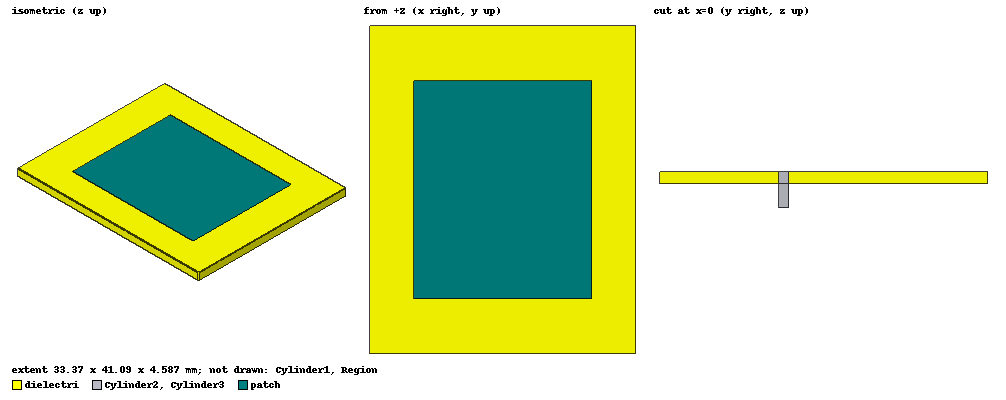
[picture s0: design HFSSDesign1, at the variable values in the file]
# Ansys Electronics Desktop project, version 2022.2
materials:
  vacuum: permittivity=1
  Rogers RT/duroid 5880 (tm): permittivity=2.2 dielectric_loss_tangent=0.0009
  pec: conductivity=1e+30
  air: permittivity=1.0006 permeability=1.0000004

design HFSSDesign1 (HFSS, DrivenTerminal, model units mm)
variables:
  h = 1.5875mm
  b = 27.391607mm
  l = 22.249574mm
  ff = -5mm
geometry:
  dielectri [Rogers RT/duroid 5880 (tm)] = box(corner=(-1.5*l/2, -1.5*b/2, 0mm), size=(l*1.5, b*1.5, h))
  ground = rectangle(corner=(-1.5*l/2, -1.5*b/2, 0mm), x_size=1.5*l, y_size=1.5*b)
  patch = rectangle(corner=(-l/2, -b/2, h), x_size=l, y_size=b)
  coordinate_system RelativeCS1 = origin=(0mm, ff, 0mm) x=(1mm, 0mm, 0mm) y=(0mm, 1mm, 0mm)
  Circle1 = circle(normal=Z, centre=(0mm, 0mm, 0mm), radius=1.2mm) in RelativeCS1
  ground.subtract(Circle1)
  Cylinder1 [vacuum] = cylinder(axis=Z, base_centre=(0mm, 0mm, 0mm), radius=1.2mm, height=-3mm) in RelativeCS1
  Cylinder2 [pec] = cylinder(axis=Z, base_centre=(0mm, 0mm, 0mm), radius=0.6mm, height=-3mm) in RelativeCS1
  Cylinder3 [pec] = cylinder(axis=Z, base_centre=(0mm, 0mm, 0mm), radius=0.6mm, height=h) in RelativeCS1
  Circle2 = circle(normal=Z, centre=(0mm, 0mm, -3mm), radius=1.2mm) in RelativeCS1
  Region [air] = region(absolute_offset: +X=17.857mm, -X=17.857mm, +Y=17.857mm, -Y=17.857mm, +Z=17.857mm, -Z=-3mm) in RelativeCS1
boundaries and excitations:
  PerfE1: Perfect E Objects=[patch, ground]
  Rad1: Radiation Faces=Region.face(6 of 6, 3 of 6, 5 of 6, 4 of 6, 1 of 6)
  Cylinder2_T1: Terminal port=1 Faces=Cylinder2.face(2 of 3) TerminalResistance=50ohm
  1: Lumped Port Faces=Circle2.face Impedance=50ohm
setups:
  Setup1: HfssDriven Frequency=4.2GHz MaxDeltaS=0.02 MaximumPasses=30 MinimumPasses=1 MinimumConvergedPasses=1 PercentRefinement=30 BasisOrder=1 PortAccuracy=2 DrivenSolverType="Direct Solver"
    sweep Sweep: 3GHz to 5.5GHz, 201 points; Type=Fast SaveFields
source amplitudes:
  1:1: 1V 0deg
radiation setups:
  Infinite Sphere1: Infinite Sphere Theta=0deg..180deg step 2deg Phi=-180deg..180deg step 2deg
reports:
  Terminal S Parameter Plot 1: dB(St(Cylinder2_T1,Cylinder2_T1)) vs Freq on Setup1 : Sweep; markers m1 at 3.425GHz
  Gain Plot 1: dB(GainTotal) vs Phi, Theta on Setup1 : LastAdaptive, Infinite Sphere1 [Freq=4.2GHz]
